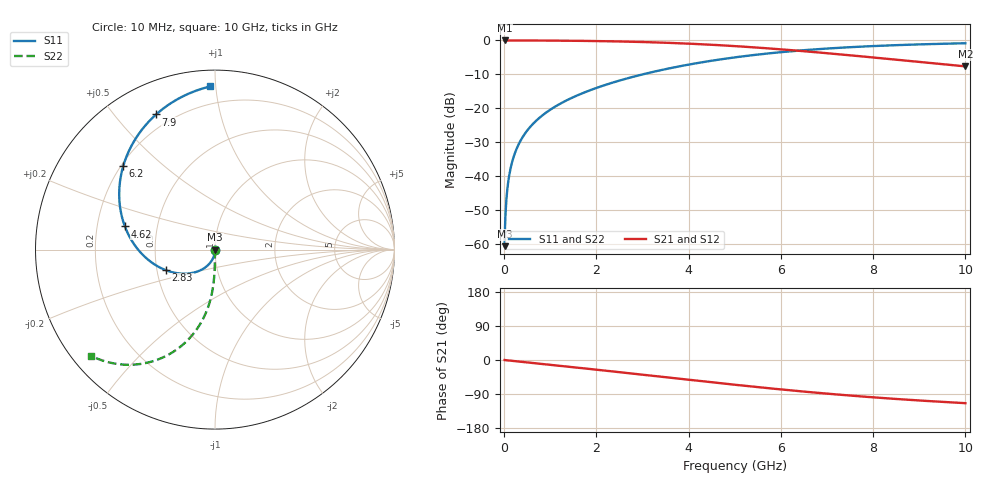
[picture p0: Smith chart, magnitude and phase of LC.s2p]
! Generated by SPUtility circuit solver
# GHZ S RI R 50
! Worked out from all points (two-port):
!   1000 points, 10 MHz to 10 GHz, reference 50 ohm
!   highest |S21| = 0.00 dB at 10 MHz (marker M1); lowest = -7.6 dB at 10 GHz (marker M2)
!   |S21| within 3 dB of the highest: start of sweep to 6.357 GHz
!   lowest |S11| = -60.5 dB at 10 MHz (marker M3), VSWR 1.00, Z = 50 - j0.0942 ohm
!   |S11| at or under -10 dB: start of sweep to 2.996 GHz
!   |S22| runs from -60.5 to -0.8 dB; largest |S21 - S12| = 1e-13
!   S11 on the Smith chart (normalised r, x): 10 MHz: 1.00, -0.00; 2.83 GHz: 0.56, -0.14; 4.62 GHz: 0.32, +0.11; 6.2 GHz: 0.21, +0.37; 7.9 GHz: 0.14, +0.65; 10 GHz: 0.09, +0.97
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0.01  -4.05e-06 -0.000942  1 -0.0022  1 -0.0022  -9.87e-08 -0.000942
0.08  -0.000259 -0.00754  0.9998 -0.0176  0.9998 -0.0176  -6.33e-06 -0.00754
0.1  -0.000405 -0.00942  0.9997 -0.022  0.9997 -0.022  -9.91e-06 -0.00943
0.13  -0.000684 -0.0122  0.9995 -0.0286  0.9995 -0.0286  -1.68e-05 -0.0123
0.17  -0.00117 -0.016  0.9992 -0.0374  0.9992 -0.0374  -2.88e-05 -0.016
0.23  -0.00214 -0.0216  0.9985 -0.0506  0.9985 -0.0506  -5.33e-05 -0.0217
0.37  -0.00553 -0.0345  0.9961 -0.0813  0.9961 -0.0813  -0.000142 -0.035
0.58  -0.0135 -0.0533  0.9904 -0.1272  0.9904 -0.1272  -0.000375 -0.055
0.86  -0.0295 -0.0766  0.9788 -0.1878  0.9788 -0.1878  -0.000937 -0.0821
1.22  -0.0585 -0.1023  0.9571 -0.2646  0.9571 -0.2646  -0.0023 -0.1178
1.68  -0.1081 -0.1254  0.9184 -0.3593  0.9184 -0.3593  -0.00573 -0.1654
2.83  -0.2729 -0.1151  0.7681 -0.5678  0.7681 -0.5678  -0.03 -0.2946
3.34  -0.3511 -0.073  0.6795 -0.64  0.6795 -0.64  -0.0518 -0.3548
3.95  -0.435 0.00803  0.561 -0.7042  0.561 -0.7042  -0.0894 -0.4258
4.62  -0.5019 0.1288  0.4233 -0.7432  0.4233 -0.7432  -0.1453 -0.4974
5.01  -0.5245 0.2095  0.3436 -0.7503  0.3436 -0.7503  -0.184 -0.534
5.6  -0.5331 0.3377  0.2293 -0.7411  0.2293 -0.7411  -0.2492 -0.5798
6.2  -0.511 0.4661  0.1258 -0.7112  0.1258 -0.7112  -0.3201 -0.6131
6.67  -0.475 0.5592  0.0562 -0.6771  0.0562 -0.6771  -0.3763 -0.6299
7.9  -0.3281 0.7529  -0.0755 -0.5655  -0.0755 -0.5655  -0.5141 -0.6405
8.34  -0.2654 0.8026  -0.1065 -0.5236  -0.1065 -0.5236  -0.5577 -0.6352
10  -0.026 0.9091  -0.1684 -0.3802  -0.1684 -0.3802  -0.6906 -0.5917
